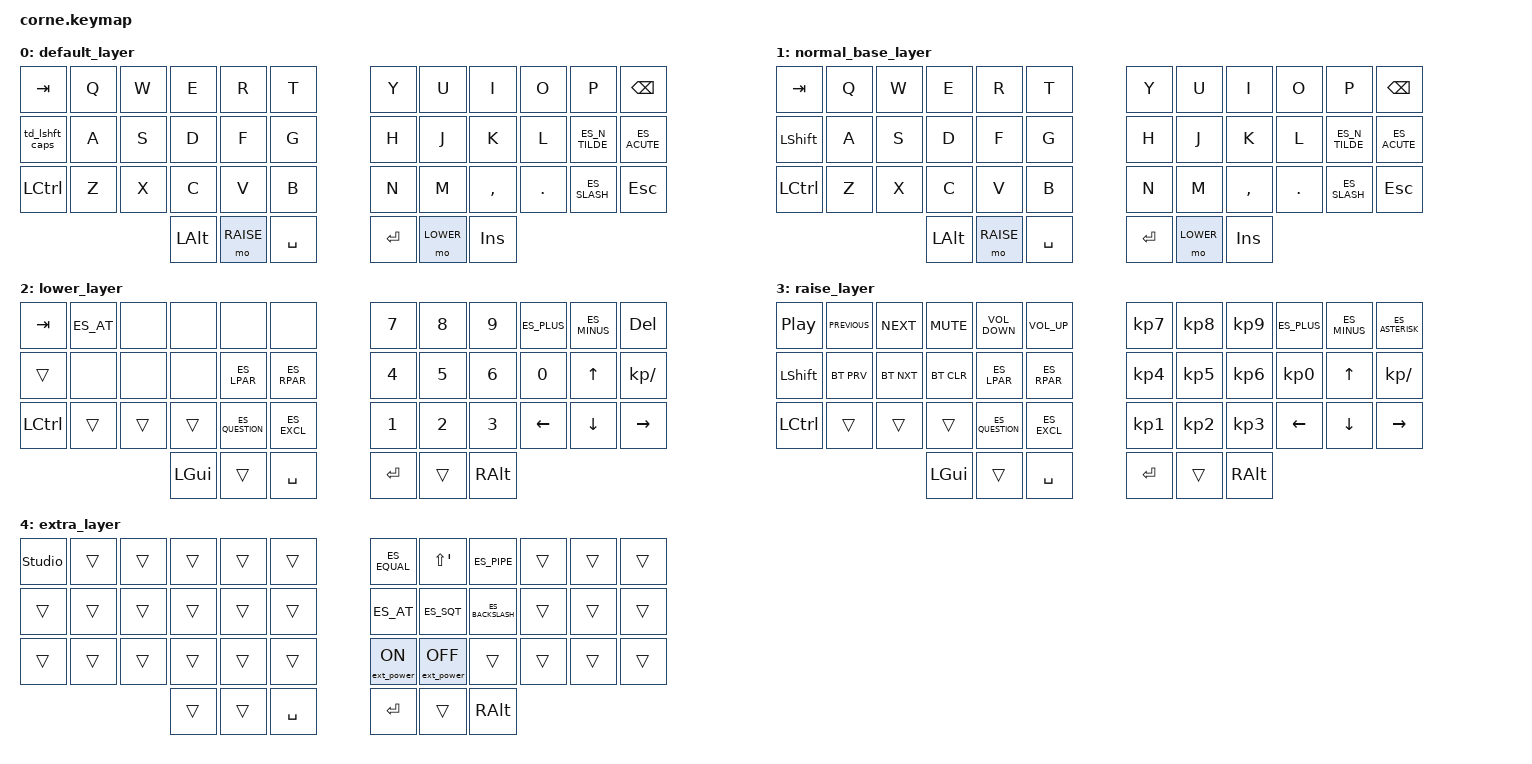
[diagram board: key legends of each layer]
#include <behaviors.dtsi>
#include <dt-bindings/zmk/bt.h>
#include <dt-bindings/zmk/ext_power.h>
#include <dt-bindings/zmk/keys.h>
#include "keys_es_latin_american.h"

#define BASE_TD     0
#define BASE_NORMAL 1
#define LOWER       2
#define RAISE       3
#define EXTRA       4

/ {
    combos {
        compatible = "zmk,combos";

        er_less {
            bindings = <&kp ES_LT>;
            key-positions = <3 4>;
        };

        rt_greater {
            bindings = <&kp ES_GT>;
            key-positions = <4 5>;
        };

        yu_plus {
            bindings = <&kp ES_PLUS>;
            key-positions = <6 7>;
        };

        hj_minus {
            bindings = <&kp MINUS>;
            key-positions = <18 19>;
        };

        nm_asterisk {
            bindings = <&kp ES_ASTERISK>;
            key-positions = <30 31>;
        };

        space_enter_base {
            timeout-ms = <100>;
            key-positions = <38 39>;
            layers = <BASE_TD BASE_NORMAL>;
            bindings = <&base_hold BASE_NORMAL 0>;
        };
    };

    behaviors {
        td_lshft_caps: td_lshft_caps {
            compatible = "zmk,behavior-tap-dance";
            label = "TD_LSHFT_CAPS";
            #binding-cells = <0>;
            tapping-term-ms = <200>;
            bindings = <&kp LSHFT>, <&kp CAPS>;
        };

        base_hold: base_hold {
            compatible = "zmk,behavior-hold-tap";
            #binding-cells = <2>;
            flavor = "tap-preferred";
            tapping-term-ms = <2000>;
            bindings = <&tog>, <&none>;
        };
    };

    keymap {
        compatible = "zmk,keymap";

        // 0: Base con tap-dance en Shift.
        default_layer {
            bindings = <
&kp TAB         &kp Q  &kp W  &kp E  &kp R  &kp T        &kp Y  &kp U  &kp I      &kp O    &kp P           &kp BSPC
&td_lshft_caps  &kp A  &kp S  &kp D  &kp F  &kp G        &kp H  &kp J  &kp K      &kp L    &kp ES_N_TILDE  &kp ES_ACUTE
&kp LCTRL       &kp Z  &kp X  &kp C  &kp V  &kp B        &kp N  &kp M  &kp COMMA  &kp DOT  &kp ES_SLASH    &kp ESC
                   &kp LALT  &mo RAISE  &kp SPACE        &kp RET  &mo LOWER  &kp INSERT
            >;
        };

        // 1: Base con Shift normal.
        normal_base_layer {
            bindings = <
&kp TAB    &kp Q  &kp W  &kp E  &kp R  &kp T        &kp Y  &kp U  &kp I      &kp O    &kp P           &kp BSPC
&kp LSHFT  &kp A  &kp S  &kp D  &kp F  &kp G        &kp H  &kp J  &kp K      &kp L    &kp ES_N_TILDE  &kp ES_ACUTE
&kp LCTRL  &kp Z  &kp X  &kp C  &kp V  &kp B        &kp N  &kp M  &kp COMMA  &kp DOT  &kp ES_SLASH    &kp ESC
              &kp LALT  &mo RAISE  &kp SPACE        &kp RET  &mo LOWER  &kp INSERT
            >;
        };

        // 2: Lower. Shift hereda el comportamiento de la base activa.
        lower_layer {
            bindings = <
&kp TAB    &kp ES_AT  &none   &none   &none            &none          &kp N7  &kp N8  &kp N9  &kp ES_PLUS     &kp ES_MINUS    &kp DELETE
&trans     &none      &none   &none   &kp ES_LPAR      &kp ES_RPAR    &kp N4  &kp N5  &kp N6  &kp N0          &kp UP_ARROW    &kp KP_DIVIDE
&kp LCTRL  &trans     &trans  &trans  &kp ES_QUESTION  &kp ES_EXCL    &kp N1  &kp N2  &kp N3  &kp LEFT_ARROW  &kp DOWN_ARROW  &kp RIGHT_ARROW
                              &kp LGUI  &trans  &kp SPACE           &kp RET  &trans  &kp RALT
            >;
        };

        // 3: Raise.
        raise_layer {
            bindings = <
&kp C_PLAY_PAUSE  &kp C_PREVIOUS  &kp C_NEXT  &kp C_MUTE  &kp C_VOLUME_DOWN  &kp C_VOLUME_UP    &kp KP_NUMBER_7  &kp KP_NUMBER_8  &kp KP_NUMBER_9  &kp ES_PLUS      &kp ES_MINUS    &kp ES_ASTERISK
&kp LSHFT         &bt BT_PRV      &bt BT_NXT  &bt BT_CLR  &kp ES_LPAR        &kp ES_RPAR        &kp KP_NUMBER_4  &kp KP_NUMBER_5  &kp KP_NUMBER_6  &kp KP_NUMBER_0  &kp UP_ARROW    &kp KP_DIVIDE
&kp LCTRL         &trans          &trans     &trans      &kp ES_QUESTION    &kp ES_EXCL        &kp KP_NUMBER_1  &kp KP_NUMBER_2  &kp KP_NUMBER_3  &kp LEFT_ARROW   &kp DOWN_ARROW  &kp RIGHT_ARROW
                                                &kp LGUI  &trans  &kp SPACE                &kp RET  &trans  &kp RALT
            >;
        };

        // 4: Extra, activa al mantener Lower + Raise.
        extra_layer {
            bindings = <
&studio_unlock  &trans  &trans  &trans  &trans  &trans       &kp ES_EQUAL      &kp LS(SQT)         &kp ES_PIPE       &trans  &trans  &trans
&trans          &trans  &trans  &trans  &trans  &trans       &kp ES_AT         &kp ES_SQT         &kp ES_BACKSLASH  &trans  &trans  &trans
&trans          &trans  &trans  &trans  &trans  &trans       &ext_power EP_ON  &ext_power EP_OFF  &trans            &trans  &trans  &trans
                               &trans  &trans  &kp SPACE    &kp ENTER  &trans  &kp RIGHT_ALT
            >;
        };
    };

    conditional_layers {
        compatible = "zmk,conditional-layers";

        extra_layer {
            if-layers = <LOWER RAISE>;
            then-layer = <EXTRA>;
        };
    };
};
